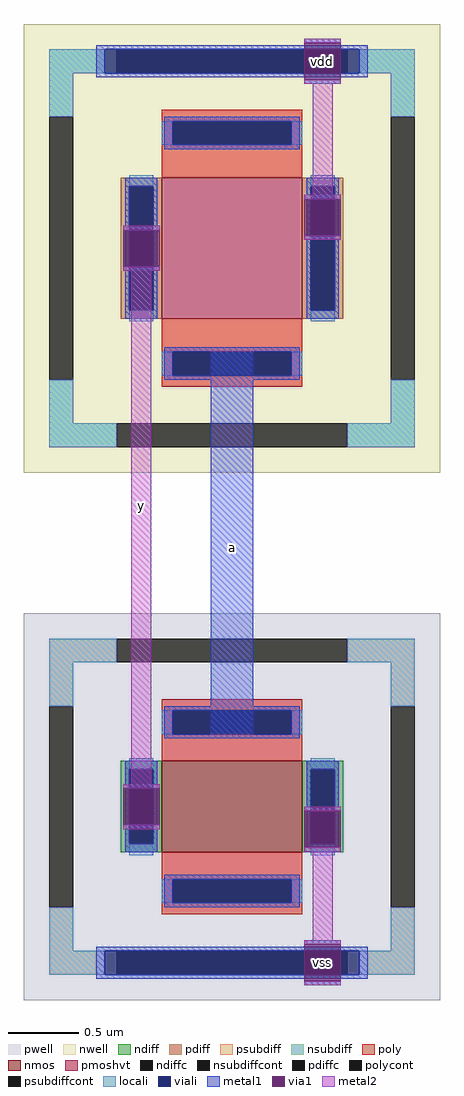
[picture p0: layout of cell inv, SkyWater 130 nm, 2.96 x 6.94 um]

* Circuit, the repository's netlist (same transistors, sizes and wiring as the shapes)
* SPDX-License-Identifier: Apache-2.0
* Copyright 2026 Mauro Rodriguez Blasco
*
* The encoder's inverter, drawn like a standard cell: the PMOS (high Vt, 1 x 1 um) above the
* NMOS (0.65 x 1 um), each in its generated ring, the PMOS ring's top as the vdd rail and the
* NMOS ring's bottom as the vss rail. Reference for LVS (scripts/flow.py lvs inv).
.subckt inv a y vdd vss
XP y a vdd vdd sky130_fd_pr__pfet_01v8_hvt w=1 l=1
XN y a vss vss sky130_fd_pr__nfet_01v8 w=0.65 l=1
.ends inv

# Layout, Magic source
magic
tech sky130A
magscale 1 2
<< metal1 >>
rect 346 1308 398 1314
rect 346 1250 398 1256
rect 346 1086 398 1092
rect 88 1042 140 1048
rect 346 1028 398 1034
rect 88 984 140 990
rect 213 325 273 869
rect 88 248 140 254
rect 88 190 140 196
rect 346 216 398 222
rect 346 158 398 164
rect 346 26 398 32
rect 346 -32 398 -26
<< via1 >>
rect 346 1256 398 1308
rect 88 990 140 1042
rect 346 1034 398 1086
rect 88 196 140 248
rect 346 164 398 216
rect 346 -26 398 26
<< metal2 >>
rect 346 1308 398 1314
rect 346 1250 398 1256
rect 358 1092 386 1250
rect 346 1086 398 1092
rect 88 1042 140 1048
rect 346 1028 398 1034
rect 88 984 140 990
rect 100 254 128 984
rect 88 248 140 254
rect 88 190 140 196
rect 346 216 398 222
rect 346 158 398 164
rect 358 32 386 158
rect 346 26 398 32
rect 346 -32 398 -26
use sky130_fd_pr__nfet_01v8_APJKA6  XN
transform 1 0 243 0 1 222
box -296 -275 296 275
use sky130_fd_pr__pfet_01v8_hvt_SLA84M  XP
transform 1 0 243 0 1 1016
box -296 -319 296 319
<< labels >>
flabel metal1 234 580 252 600 0 FreeSans 3 0 0 0 a
port 1 nsew
flabel metal2 106 640 122 660 0 FreeSans 3 0 0 0 y
port 2 nsew
flabel via1 364 1274 380 1290 0 FreeSans 3 0 0 0 vdd
port 3 nsew
flabel via1 364 -8 380 8 0 FreeSans 3 0 0 0 vss
port 4 nsew
<< end >>

# cell sky130_fd_pr__nfet_01v8_APJKA6: kit device sky130_fd_pr__nfet_01v8, w 0.65 l 1 m 1 nf 1 diffcov 100 polycov 100 guard 1 glc 1 grc 1 gtc 1 gbc 1 tbcov 100 rlcov 100 topc 1 botc 1 poverlap 0 doverlap 1 lmin 0.15 wmin 0.42 class mosfet compatible {sky130_fd_pr__nfet_01v8 sky130_fd_pr__nfet_01v8_lvt sky130_fd_bs_flash__special_sonosfet_star sky130_fd_pr__nfet_g5v0d10v5 sky130_fd_pr__nfet_05v0_nvt sky130_fd_pr__nfet_03v3_nvt} full_metal 1 conn_gates 0 viasrc 100 viadrn 100 viagate 100 viagb 80 viagr 0 viagl 0 viagt 0 doports 1

# cell sky130_fd_pr__pfet_01v8_hvt_SLA84M: kit device sky130_fd_pr__pfet_01v8_hvt, w 1 l 1 m 1 nf 1 diffcov 100 polycov 100 guard 1 glc 1 grc 1 gtc 1 gbc 1 tbcov 100 rlcov 100 topc 1 botc 1 poverlap 0 doverlap 1 lmin 0.15 wmin 0.42 class mosfet compatible {sky130_fd_pr__pfet_01v8 sky130_fd_pr__pfet_01v8_lvt sky130_fd_pr__pfet_01v8_hvt sky130_fd_pr__pfet_g5v0d10v5} full_metal 1 conn_gates 0 viasrc 100 viadrn 100 viagate 100 viagb 0 viagr 0 viagl 0 viagt 80 doports 1
